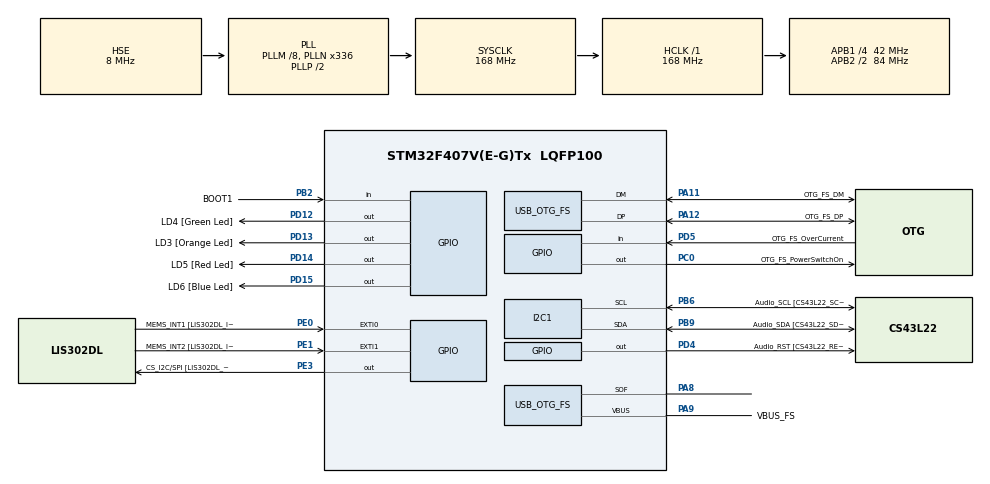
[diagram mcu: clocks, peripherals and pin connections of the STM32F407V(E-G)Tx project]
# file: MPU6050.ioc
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I2C1.GeneralCallMode=I2C_GENERALCALL_DISABLE
I2C1.I2C_Mode=I2C_Standard
I2C1.OwnAddress=0x68
Mcu.Family=STM32F4
Mcu.Name=STM32F407V(E-G)Tx
Mcu.Package=LQFP100
NVIC.OTG_FS_IRQn=true\:0\:0\:false\:false\:true
NVIC.PriorityGroup=NVIC_PRIORITYGROUP_0
PA10.GPIO_Label=OTG_FS_ID
PA10.GPIO_Mode=GPIO_MODE_AF_PP
PA10.GPIO_PuPd=GPIO_NOPULL
PA10.GPIO_Speed=GPIO_SPEED_FREQ_LOW
PA10.Signal=USB_OTG_FS_ID
PA11.GPIO_Label=OTG_FS_DM
PA11.GPIO_Mode=GPIO_MODE_AF_PP
PA11.GPIO_PuPd=GPIO_NOPULL
PA11.GPIO_Speed=GPIO_SPEED_FREQ_LOW
PA11.Mode=Device_Only
PA11.Signal=USB_OTG_FS_DM
PA12.GPIO_Label=OTG_FS_DP
PA12.GPIO_Mode=GPIO_MODE_AF_PP
PA12.GPIO_PuPd=GPIO_NOPULL
PA12.GPIO_Speed=GPIO_SPEED_FREQ_LOW
PA12.Mode=Device_Only
PA12.Signal=USB_OTG_FS_DP
PA13.GPIO_Label=SWDIO
PA13.Mode=Trace_Asynchronous_SW
PA13.Signal=SYS_JTMS-SWDIO
PA14.GPIO_Label=SWCLK
PA14.Mode=Trace_Asynchronous_SW
PA14.Signal=SYS_JTCK-SWCLK
PA4.GPIO_Label=I2S3_WS [CS43L22_LRCK]
PA4.GPIO_Mode=GPIO_MODE_AF_PP
PA4.GPIO_PuPd=GPIO_NOPULL
PA4.GPIO_Speed=GPIO_SPEED_FREQ_LOW
PA4.Signal=I2S3_WS
PA5.GPIO_Label=SPI1_SCK [LIS302DL_SCL/SPC]
PA5.GPIO_Mode=GPIO_MODE_AF_PP
PA5.GPIO_PuPd=GPIO_NOPULL
PA5.GPIO_Speed=GPIO_SPEED_FREQ_LOW
PA5.Signal=SPI1_SCK
PA6.GPIO_Label=SPI1_MISO [LIS302DL_SDO]
PA6.GPIO_Mode=GPIO_MODE_AF_PP
PA6.GPIO_PuPd=GPIO_NOPULL
PA6.GPIO_Speed=GPIO_SPEED_FREQ_LOW
PA6.Signal=SPI1_MISO
PA7.GPIO_Label=SPI1_MOSI [LIS302DL_SDA/SDI/SDO]
PA7.GPIO_Mode=GPIO_MODE_AF_PP
PA7.GPIO_PuPd=GPIO_NOPULL
PA7.GPIO_Speed=GPIO_SPEED_FREQ_LOW
PA7.Signal=SPI1_MOSI
PA8.Mode=Activate_SOF_FS
PA8.Signal=USB_OTG_FS_SOF
PA9.GPIO_Label=VBUS_FS
PA9.GPIO_Mode=GPIO_MODE_INPUT
PA9.GPIO_PuPd=GPIO_NOPULL
PA9.Mode=Activate_VBUS
PA9.Signal=USB_OTG_FS_VBUS
PB10.GPIO_Label=CLK_IN [MP45DT02_CLK]
PB10.GPIO_Mode=GPIO_MODE_AF_PP
PB10.GPIO_PuPd=GPIO_NOPULL
PB10.GPIO_Speed=GPIO_SPEED_FREQ_LOW
PB10.Signal=I2S2_CK
PB2.GPIO_Label=BOOT1
PB2.GPIO_Mode=GPIO_MODE_INPUT
PB2.GPIO_PuPd=GPIO_NOPULL
PB2.Signal=GPIO_Input
PB3.GPIO_Label=SWO
PB3.Mode=Trace_Asynchronous_SW
PB3.Signal=SYS_JTDO-SWO
PB6.GPIO_Label=Audio_SCL [CS43L22_SCL]
PB6.GPIO_Mode=GPIO_MODE_AF_OD
PB6.GPIO_PuPd=GPIO_NOPULL
PB6.GPIO_Speed=GPIO_SPEED_FREQ_LOW
PB6.Mode=I2C
PB6.Signal=I2C1_SCL
PB9.GPIO_Label=Audio_SDA [CS43L22_SDA]
PB9.GPIO_Mode=GPIO_MODE_AF_OD
PB9.GPIO_PuPd=GPIO_NOPULL
PB9.GPIO_Speed=GPIO_SPEED_FREQ_LOW
PB9.Mode=I2C
PB9.Signal=I2C1_SDA
PC0.GPIO_Label=OTG_FS_PowerSwitchOn
PC0.GPIO_PuPd=GPIO_NOPULL
PC0.GPIO_Speed=GPIO_SPEED_FREQ_LOW
PC0.Signal=GPIO_Output
PC10.GPIO_Label=I2S3_SCK [CS43L22_SCLK]
PC10.GPIO_Mode=GPIO_MODE_AF_PP
PC10.GPIO_PuPd=GPIO_NOPULL
PC10.GPIO_Speed=GPIO_SPEED_FREQ_LOW
PC10.Signal=I2S3_CK
PC12.GPIO_Label=I2S3_SD [CS43L22_SDIN]
PC12.GPIO_Mode=GPIO_MODE_AF_PP
PC12.GPIO_PuPd=GPIO_NOPULL
PC12.GPIO_Speed=GPIO_SPEED_FREQ_LOW
PC12.Signal=I2S3_SD
PC14-OSC32_IN.GPIO_Label=PC14-OSC32_IN
PC14-OSC32_IN.Signal=RCC_OSC32_IN
PC15-OSC32_OUT.GPIO_Label=PC15-OSC32_OUT
PC15-OSC32_OUT.Signal=RCC_OSC32_OUT
PC3.GPIO_Label=PDM_OUT [MP45DT02_DOUT]
PC3.GPIO_Mode=GPIO_MODE_AF_PP
PC3.GPIO_PuPd=GPIO_NOPULL
PC3.GPIO_Speed=GPIO_SPEED_FREQ_LOW
PC3.Signal=I2S2_SD
PC7.GPIO_Label=I2S3_MCK [CS43L22_MCLK]
PC7.GPIO_Mode=GPIO_MODE_AF_PP
PC7.GPIO_PuPd=GPIO_NOPULL
PC7.GPIO_Speed=GPIO_SPEED_FREQ_LOW
PC7.Signal=I2S3_MCK
PD12.GPIO_Label=LD4 [Green Led]
PD12.GPIO_PuPd=GPIO_NOPULL
PD12.GPIO_Speed=GPIO_SPEED_FREQ_LOW
PD12.Signal=GPIO_Output
PD13.GPIO_Label=LD3 [Orange Led]
PD13.GPIO_PuPd=GPIO_NOPULL
PD13.GPIO_Speed=GPIO_SPEED_FREQ_LOW
PD13.Signal=GPIO_Output
PD14.GPIO_Label=LD5 [Red Led]
PD14.GPIO_PuPd=GPIO_NOPULL
PD14.GPIO_Speed=GPIO_SPEED_FREQ_LOW
PD14.Signal=GPIO_Output
PD15.GPIO_Label=LD6 [Blue Led]
PD15.GPIO_PuPd=GPIO_NOPULL
PD15.GPIO_Speed=GPIO_SPEED_FREQ_LOW
PD15.Signal=GPIO_Output
PD4.GPIO_Label=Audio_RST [CS43L22_RESET]
PD4.GPIO_PuPd=GPIO_NOPULL
PD4.GPIO_Speed=GPIO_SPEED_FREQ_LOW
PD4.Signal=GPIO_Output
PD5.GPIO_Label=OTG_FS_OverCurrent
PD5.GPIO_Mode=GPIO_MODE_INPUT
PD5.GPIO_PuPd=GPIO_NOPULL
PD5.Signal=GPIO_Input
PE0.GPIO_Label=MEMS_INT1 [LIS302DL_INT1]
PE0.Signal=GPXTI0
PE1.GPIO_Label=MEMS_INT2 [LIS302DL_INT2]
PE1.GPIO_ModeDefaultEXTI=GPIO_MODE_EVT_RISING
PE1.GPIO_PuPd=GPIO_NOPULL
PE1.Signal=GPXTI1
PE3.GPIO_Label=CS_I2C/SPI [LIS302DL_CS_I2C/SPI]
PE3.GPIO_PuPd=GPIO_NOPULL
PE3.GPIO_Speed=GPIO_SPEED_FREQ_LOW
PE3.Signal=GPIO_Output
PH0-OSC_IN.GPIO_Label=PH0-OSC_IN
PH0-OSC_IN.Mode=HSE-External-Oscillator
PH0-OSC_IN.Signal=RCC_OSC_IN
PH1-OSC_OUT.GPIO_Label=PH1-OSC_OUT
PH1-OSC_OUT.Mode=HSE-External-Oscillator
PH1-OSC_OUT.Signal=RCC_OSC_OUT
ProjectManager.HeapSize=0x400
ProjectManager.StackSize=0x200
ProjectManager.TargetToolchain=SW4STM32
RCC.AHBFreq_Value=168000000
RCC.APB1CLKDivider=RCC_HCLK_DIV4
RCC.APB1Freq_Value=42000000
RCC.APB1TimFreq_Value=84000000
RCC.APB2CLKDivider=RCC_HCLK_DIV2
RCC.APB2Freq_Value=84000000
RCC.APB2TimFreq_Value=168000000
RCC.CortexFreq_Value=168000000
RCC.HCLKFreq_Value=168000000
RCC.HSE_VALUE=8000000
RCC.HSI_VALUE=16000000
RCC.LSE_VALUE=32768
RCC.PLLM=8
RCC.PLLN=336
RCC.PLLQ=7
RCC.SYSCLKFreq_VALUE=168000000
RCC.SYSCLKSource=RCC_SYSCLKSOURCE_PLLCLK
RCC.VCOOutputFreq_Value=336000000
USB_DEVICE.CLASS_NAME-CUSTOM_HID_FS=CUSTOMHID
USB_DEVICE.USBD_CUSTOMHID_OUTREPORT_BUF_SIZE-CUSTOM_HID_FS=16
USB_DEVICE.USBD_CUSTOM_HID_REPORT_DESC_SIZE-CUSTOM_HID_FS=16
USB_DEVICE.USBD_HandleTypeDef-CUSTOM_HID_FS=hUsbDeviceFS
USB_DEVICE.VirtualMode-CUSTOM_HID_FS=CustomHid
USB_DEVICE.VirtualModeFS=Custom_Hid_FS
USB_OTG_FS.VirtualMode=Device_Only
VP_USB_DEVICE_VS_USB_DEVICE_CUSTOM_HID_FS.Mode=CUSTOM_HID_FS
board=STM32F407G-DISC1

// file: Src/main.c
/**
  ******************************************************************************
  * File Name          : main.c
  * Description        : Main program body
  ******************************************************************************
  *
  * COPYRIGHT(c) 2016 STMicroelectronics
  *
  * Redistribution and use in source and binary forms, with or without modification,
  * are permitted provided that the following conditions are met:
  *   1. Redistributions of source code must retain the above copyright notice,
  *      this list of conditions and the following disclaimer.
  *   2. Redistributions in binary form must reproduce the above copyright notice,
  *      this list of conditions and the following disclaimer in the documentation
  *      and/or other materials provided with the distribution.
  *   3. Neither the name of STMicroelectronics nor the names of its contributors
  *      may be used to endorse or promote products derived from this software
  *      without specific prior written permission.
  *
  * THIS SOFTWARE IS PROVIDED BY THE COPYRIGHT HOLDERS AND CONTRIBUTORS "AS IS"
  * AND ANY EXPRESS OR IMPLIED WARRANTIES, INCLUDING, BUT NOT LIMITED TO, THE
  * IMPLIED WARRANTIES OF MERCHANTABILITY AND FITNESS FOR A PARTICULAR PURPOSE ARE
  * DISCLAIMED. IN NO EVENT SHALL THE COPYRIGHT HOLDER OR CONTRIBUTORS BE LIABLE
  * FOR ANY DIRECT, INDIRECT, INCIDENTAL, SPECIAL, EXEMPLARY, OR CONSEQUENTIAL
  * DAMAGES (INCLUDING, BUT NOT LIMITED TO, PROCUREMENT OF SUBSTITUTE GOODS OR
  * SERVICES; LOSS OF USE, DATA, OR PROFITS; OR BUSINESS INTERRUPTION) HOWEVER
  * CAUSED AND ON ANY THEORY OF LIABILITY, WHETHER IN CONTRACT, STRICT LIABILITY,
  * OR TORT (INCLUDING NEGLIGENCE OR OTHERWISE) ARISING IN ANY WAY OUT OF THE USE
  * OF THIS SOFTWARE, EVEN IF ADVISED OF THE POSSIBILITY OF SUCH DAMAGE.
  *
  ******************************************************************************
  */
#include "stm32f4xx_hal.h"
#include "i2c.h"
#include "usb_device.h"
#include "gpio.h"

/* USER CODE BEGIN Includes */
#include "usbd_custom_hid_if.h"
#include "mpu6050.h"
/* USER CODE END Includes */

/* USER CODE BEGIN PV */
/* Private variables ---------------------------------------------------------*/

/* USER CODE END PV */

void SystemClock_Config(void);
void Error_Handler(void);

/* USER CODE BEGIN PFP */
/* Private function prototypes -----------------------------------------------*/

/* USER CODE END PFP */

/* USER CODE BEGIN 0 */

uint8_t buf[CUSTOM_HID_EPIN_SIZE];
uint16_t MSB, LSB;

uint8_t mpu6050_Read(uint16_t addr)
{
  uint8_t data = 0;
  const uint8_t dev_addr = MPU6050_ADDRESS_AD0_LOW >> 1;
//  HAL_I2C_Mem_Read(&hi2c1, dev_addr, addr, 1, &data, 1, 0x1000);
  HAL_I2C_Master_Transmit(&hi2c1, dev_addr, &addr, 1, 0xF000);
  HAL_I2C_Master_Receive(&hi2c1, dev_addr, &data, 1, 0xF000);

  return data;
}

void mpu6050_Write(uint16_t addr, uint8_t data)
{
  const uint8_t dev_addr = MPU6050_ADDRESS_AD0_LOW >> 1;
//  HAL_I2C_Mem_Write(&hi2c1, dev_addr, addr, 1, &data, 1, 0x1000);
    HAL_I2C_Master_Transmit(&hi2c1, dev_addr, &addr, 1, 0xF000);
    HAL_I2C_Master_Transmit(&hi2c1, dev_addr, &data, 1, 0xF000);
}

void mpu6050_init()
{
  //Sets sample rate to 8000/1+7 = 1000Hz
  mpu6050_Write(MPU6050_RA_SMPLRT_DIV, 0x07);
  //Disable FSync, 256Hz DLPF
  mpu6050_Write(MPU6050_RA_CONFIG, 0x00);
  //Disable gyro self tests, scale of 500 degrees/s
  mpu6050_Write(MPU6050_RA_GYRO_CONFIG, 0b00001000);
  //Disable accel self tests, scale of +-2g, no DHPF
  mpu6050_Write(MPU6050_RA_ACCEL_CONFIG, 0x00);
  //Freefall threshold of |0mg|
  mpu6050_Write(MPU6050_RA_FF_THR, 0x00);
  //Freefall duration limit of 0
  mpu6050_Write(MPU6050_RA_FF_DUR, 0x00);
  //Motion threshold of 0mg
  mpu6050_Write(MPU6050_RA_MOT_THR, 0x00);
  //Motion duration of 0s
  mpu6050_Write(MPU6050_RA_MOT_DUR, 0x00);
  //Zero motion threshold
  mpu6050_Write(MPU6050_RA_ZRMOT_THR, 0x00);
  //Zero motion duration threshold
  mpu6050_Write(MPU6050_RA_ZRMOT_DUR, 0x00);
  //Disable sensor output to FIFO buffer
  mpu6050_Write(MPU6050_RA_FIFO_EN, 0x00);
}

/* USER CODE END 0 */

int main(void)
{

  /* MCU Configuration----------------------------------------------------------*/

  /* Reset of all peripherals, Initializes the Flash interface and the Systick. */
  HAL_Init();

  /* Configure the system clock */
  SystemClock_Config();

  /* Initialize all configured peripherals */
  MX_GPIO_Init();
  MX_USB_DEVICE_Init();
  MX_I2C1_Init();

  /* USER CODE BEGIN 2 */
  mpu6050_init();
  uint8_t who_am_i = 0;
  /* USER CODE END 2 */

  /* Infinite loop */
  /* USER CODE BEGIN WHILE */
  while (1)
  {
    HAL_Delay(100);

    if(!who_am_i){
      who_am_i = mpu6050_Read(0x75);
      mpu6050_Write(MPU6050_RA_SMPLRT_DIV, 0x07);
    }

    MSB = mpu6050_Read(0x3B);
    LSB = mpu6050_Read(0x3C);
    uint16_t acc_x = (MSB << 8) | LSB; // Read X accelerometer

    MSB = mpu6050_Read(0x3D);
    LSB = mpu6050_Read(0x3E);
    uint16_t acc_y = (MSB << 8) | LSB; // Read Y accelerometer

    MSB = mpu6050_Read(0x3F);
    LSB = mpu6050_Read(0x40);
    uint16_t acc_z = (MSB << 8) | LSB; // Read Z accelerometer

    sprintf(buf, "who am i = %d\nAccelerometer:\n    X = %d\n    Y = %d\n    Z = %d\n", who_am_i, MSB, LSB, acc_z);
    USBD_CUSTOM_HID_SendReport(&hUsbDeviceFS, buf, CUSTOM_HID_EPIN_SIZE);

  /* USER CODE END WHILE */

  }

}

/** System Clock Configuration
*/
void SystemClock_Config(void)
{

  RCC_OscInitTypeDef RCC_OscInitStruct;
  RCC_ClkInitTypeDef RCC_ClkInitStruct;

  __HAL_RCC_PWR_CLK_ENABLE();

  __HAL_PWR_VOLTAGESCALING_CONFIG(PWR_REGULATOR_VOLTAGE_SCALE1);

  RCC_OscInitStruct.OscillatorType = RCC_OSCILLATORTYPE_HSE;
  RCC_OscInitStruct.HSEState = RCC_HSE_ON;
  RCC_OscInitStruct.PLL.PLLState = RCC_PLL_ON;
  RCC_OscInitStruct.PLL.PLLSource = RCC_PLLSOURCE_HSE;
  RCC_OscInitStruct.PLL.PLLM = 8;
  RCC_OscInitStruct.PLL.PLLN = 336;
  RCC_OscInitStruct.PLL.PLLP = RCC_PLLP_DIV2;
  RCC_OscInitStruct.PLL.PLLQ = 7;
  if (HAL_RCC_OscConfig(&RCC_OscInitStruct) != HAL_OK)
  {
    Error_Handler();
  }

  RCC_ClkInitStruct.ClockType = RCC_CLOCKTYPE_HCLK|RCC_CLOCKTYPE_SYSCLK
                              |RCC_CLOCKTYPE_PCLK1|RCC_CLOCKTYPE_PCLK2;
  RCC_ClkInitStruct.SYSCLKSource = RCC_SYSCLKSOURCE_PLLCLK;
  RCC_ClkInitStruct.AHBCLKDivider = RCC_SYSCLK_DIV1;
  RCC_ClkInitStruct.APB1CLKDivider = RCC_HCLK_DIV4;
  RCC_ClkInitStruct.APB2CLKDivider = RCC_HCLK_DIV2;
  if (HAL_RCC_ClockConfig(&RCC_ClkInitStruct, FLASH_LATENCY_5) != HAL_OK)
  {
    Error_Handler();
  }

  HAL_SYSTICK_Config(HAL_RCC_GetHCLKFreq()/1000);

  HAL_SYSTICK_CLKSourceConfig(SYSTICK_CLKSOURCE_HCLK);

  /* SysTick_IRQn interrupt configuration */
  HAL_NVIC_SetPriority(SysTick_IRQn, 0, 0);
}

void Error_Handler(void)
{
  while(1)
  {
  }
}

/************************ (C) COPYRIGHT STMicroelectronics *****END OF FILE****/
